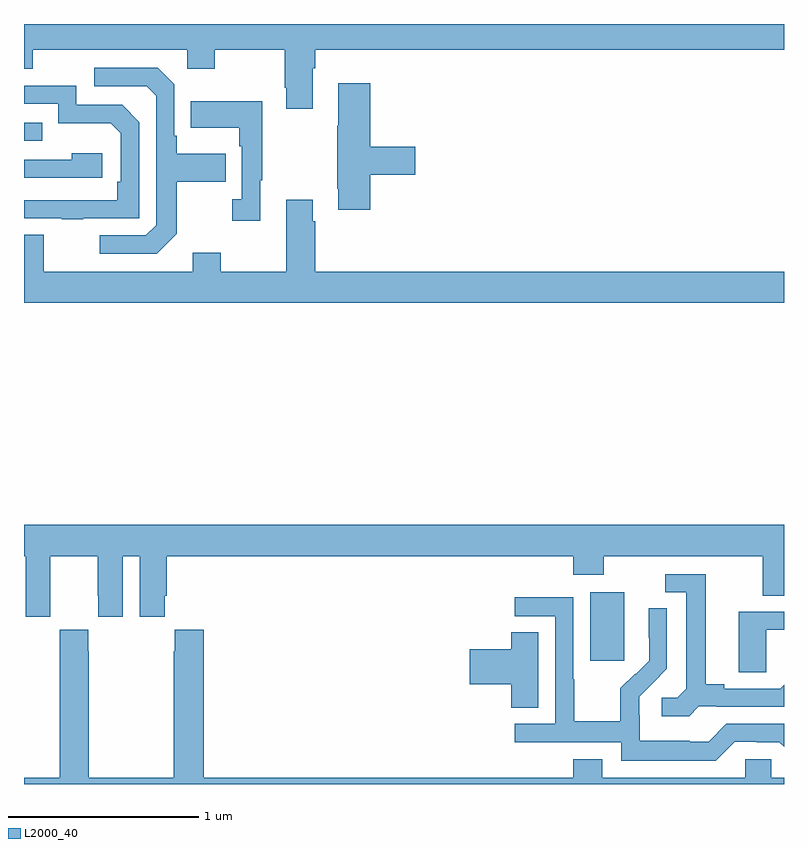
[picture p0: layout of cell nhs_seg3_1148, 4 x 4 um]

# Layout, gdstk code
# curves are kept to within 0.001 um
import gdstk
lib = gdstk.Library(unit=1e-6, precision=1e-09)
def R(c, l, rs):  # rectangles x0, y0, x1, y1
    for r in rs: c.add(gdstk.rectangle(r[:2], r[2:], *l))
def P(c, l, *ps):  # polygons
    for p in ps: c.add(gdstk.Polygon(p, *l))
L2000_40 = (2000, 40)

nhs_seg3_1148 = lib.new_cell('nhs_seg3_1148')
R(nhs_seg3_1148, L2000_40, [(173.981,683.049,174.16,683.41), (171,685.785,171.095,685.881)])
P(nhs_seg3_1148, L2000_40, [(172.519,686.168),(172.532,686.168),(172.532,686.264),(175,686.264),(175,686.4),(171,686.4),(171,686.165),(171.045,686.165),(171.045,686.264),(171.858,686.264),(171.858,686.165),(172.005,686.165),(172.005,686.264),(172.372,686.264),(172.372,686.065),(172.379,686.065),(172.379,685.953),(172.519,685.953)],
  [(171.805,685.297),(171.805,685.57),(172.061,685.57),(172.061,685.717),(171.805,685.717),(171.805,685.813),(171.792,685.813),(171.792,686.082),(171.705,686.169),(171.369,686.169),(171.369,686.073),(171.645,686.073),(171.696,686.022),(171.696,685.341),(171.642,685.287),(171.399,685.287),(171.399,685.191),(171.699,685.191)],
  [(172.823,685.607),(173.059,685.607),(173.059,685.754),(172.823,685.754),(172.823,686.089),(172.655,686.089),(172.655,685.865),(172.648,685.865),(172.648,685.534),(172.655,685.534),(172.655,685.422),(172.823,685.422)],
  [(171.311,685.377),(171.606,685.377),(171.606,685.884),(171.516,685.974),(171.276,685.974),(171.276,686.076),(171,686.076),(171,685.98),(171.18,685.98),(171.18,685.877),(171.457,685.877),(171.51,685.824),(171.51,685.57),(171.49,685.57),(171.49,685.473),(171,685.473),(171,685.377),(171.199,685.377),(171.199,685.372),(171.311,685.372)],
  [(172.243,685.577),(172.255,685.577),(172.255,685.993),(171.877,685.993),(171.877,685.853),(172.134,685.853),(172.134,685.757),(172.146,685.757),(172.146,685.478),(172.095,685.478),(172.095,685.365),(172.243,685.365)],
  [(171.412,685.72),(171.251,685.72),(171.251,685.686),(171,685.686),(171,685.59),(171.412,685.59)],
  [(175,685.096),(172.532,685.096),(172.532,685.361),(172.519,685.361),(172.519,685.474),(172.379,685.474),(172.379,685.096),(172.035,685.096),(172.035,685.195),(171.887,685.195),(171.887,685.096),(171.103,685.096),(171.103,685.291),(171,685.291),(171,684.932),(175,684.932)],
  [(171.138,683.392),(171.139,683.392),(171.139,683.6),(171.389,683.6),(171.389,683.392),(171.39,683.392),(171.39,683.28),(171.52,683.28),(171.52,683.6),(171.608,683.6),(171.608,683.28),(171.742,683.28),(171.742,683.392),(171.752,683.392),(171.752,683.6),(173.891,683.6),(173.891,683.501),(174.051,683.501),(174.051,683.6),(174.887,683.6),(174.887,683.392),(175,683.392),(175,683.764),(171,683.764),(171,683.6),(171.008,683.6),(171.008,683.28),(171.138,683.28)],
  [(174.552,682.809),(174.646,682.809),(174.646,682.806),(175,682.806),(175,682.922),(174.98,682.902),(174.685,682.902),(174.685,682.925),(174.589,682.925),(174.589,683.505),(174.375,683.505),(174.375,683.409),(174.485,683.409),(174.485,682.901),(174.438,682.854),(174.357,682.854),(174.357,682.757),(174.5,682.757)],
  [(174.741,682.623),(174.857,682.623),(174.857,682.62),(174.975,682.62),(175,682.595),(175,682.716),(174.696,682.716),(174.603,682.623),(174.503,682.623),(174.503,682.627),(174.24,682.627),(174.24,682.761),(174.238,682.761),(174.238,682.858),(174.384,683.006),(174.384,683.324),(174.288,683.324),(174.288,683.17),(174.29,683.17),(174.29,683.048),(174.219,682.977),(174.216,682.98),(174.139,682.903),(174.139,682.729),(173.895,682.729),(173.895,682.952),(173.892,682.952),(173.892,683.382),(173.583,683.382),(173.583,683.283),(173.796,683.283),(173.796,682.716),(173.583,682.716),(173.583,682.62),(174.144,682.62),(174.144,682.523),(174.641,682.523)],
  [(174.906,683.211),(175,683.211),(175,683.307),(174.761,683.307),(174.761,682.987),(174.906,682.987)],
  [(175,682.432),(174.933,682.432),(174.933,682.53),(174.795,682.53),(174.795,682.432),(174.043,682.432),(174.043,682.531),(173.891,682.531),(173.891,682.432),(171.947,682.432),(171.947,683.212),(171.793,683.212),(171.793,683.099),(171.787,683.099),(171.787,682.432),(171.342,682.432),(171.342,683.099),(171.339,683.099),(171.339,683.212),(171.189,683.212),(171.189,683.099),(171.187,683.099),(171.187,682.432),(171,682.432),(171,682.4),(175,682.4)],
  [(173.707,683.198),(173.564,683.198),(173.564,683.108),(173.346,683.108),(173.346,682.925),(173.564,682.925),(173.564,682.801),(173.707,682.801)])

lib.write_gds('nhs_seg3_1148.gds')
